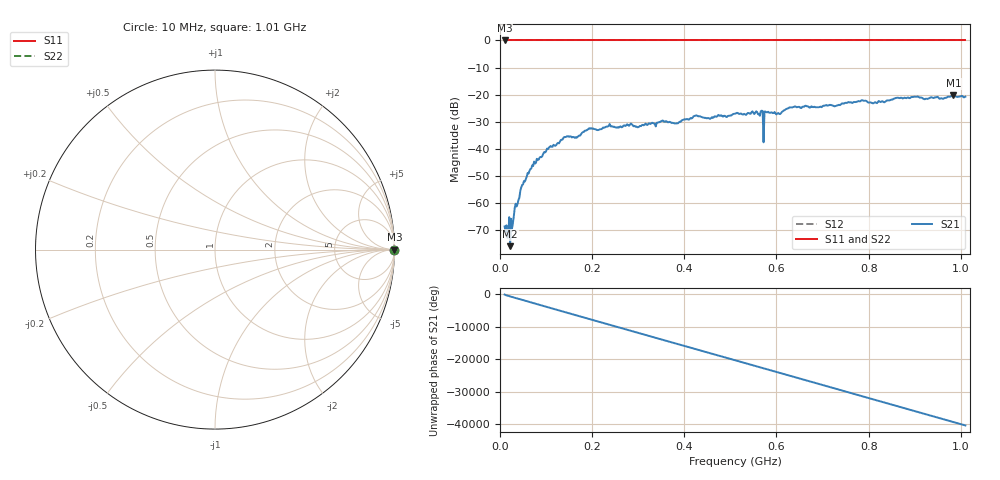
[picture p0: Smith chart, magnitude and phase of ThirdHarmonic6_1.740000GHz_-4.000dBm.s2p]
! 8/16/2025 8:58:14 PM
! C:\ANRITSUVNA\TEMP\TEMP.S2P
! CHANNEL.1
! TR.MEASUREMENT
! RAW.DATA
! RF.CORRECTION.OFF
! AVERAGING.OFF
! IF.BANDWIDTH: 5KHZ
! SWEEPTYPE:  FREQ.SWEEP(Linear)
! Reference Plane Port Info
! PORT:  PORT1  PORT2
! DISTANCE:  0  m  0  m
! TIME:  0  s  0  s
! PHASE.OFFSET:  0  deg.  0  deg.
! LOSS:  0  dB  0  dB
! REF.LOSS:  0  dB  0  dB
! REF.FREQ:  0  Hz  0  Hz
! Power Info
! POWER:  -20  dBm  -20  dBm
! EFF.POWER:  -20  dBm  -20  dBm
! SOURCE.ATTEN:  0  dB  0  dB
! TEST.ATTEN:  0  dB  0  dB
# GHZ S RI R 50.0
! FREQ.GHZ  S11RE  S11IM  S21RE  S21IM  S12RE  S12IM  S22RE  S22IM
!; PortSelection: Port_12
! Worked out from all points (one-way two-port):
!   501 points, 10 MHz to 1.01 GHz, reference 50 ohm
!   highest |S21| = -20.33 dB at 984 MHz (marker M1); lowest = -76.0 dB at 22 MHz (marker M2)
!   lowest |S11| = 0.0 dB at 10 MHz (marker M3)
!   |S11| at or under -10 dB: nowhere
!   |S22| runs from 0.0 to 0.0 dB; largest |S21 - S12| = 1.1
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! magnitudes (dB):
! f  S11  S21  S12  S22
! 10 MHz  0.0  -68.7  0.0  0.0
! 18 MHz  0.0  -72.2  0.0  0.0
! 22 MHz  0.0  -76.0  0.0  0.0
! 26 MHz  0.0  -69.5  0.0  0.0
! 34 MHz  0.0  -60.3  0.0  0.0
! 48 MHz  0.0  -53.4  0.0  0.0
! 70 MHz  0.0  -46.1  0.0  0.0
! 106 MHz  0.0  -39.6  0.0  0.0
! 142 MHz  0.0  -35.7  0.0  0.0
! 178 MHz  0.0  -34.1  0.0  0.0
! 234 MHz  0.0  -31.8  0.0  0.0
! 344 MHz  0.0  -30.3  0.0  0.0
! 510 MHz  0.0  -27.0  0.0  0.0
! 566 MHz  0.0  -26.1  0.0  0.0
! 568 MHz  0.0  -25.9  0.0  0.0
! 576 MHz  0.0  -26.3  0.0  0.0
! 578 MHz  0.0  -26.5  0.0  0.0
! 604 MHz  0.0  -26.8  0.0  0.0
! 678 MHz  0.0  -24.6  0.0  0.0
! 844 MHz  0.0  -22.2  0.0  0.0
! 984 MHz  0.0  -20.3  0.0  0.0
! 1.01 GHz  0.0  -20.8  0.0  0.0
